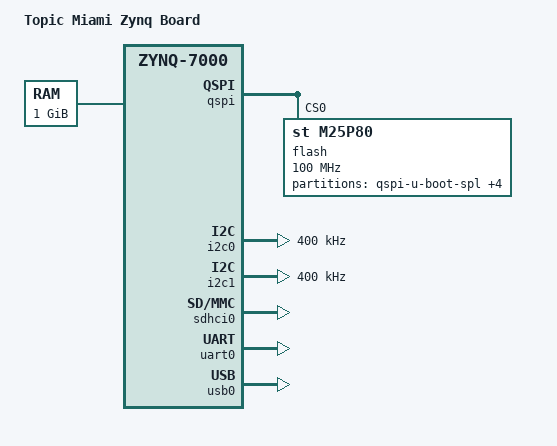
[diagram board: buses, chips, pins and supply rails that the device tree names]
// SPDX-License-Identifier: GPL-2.0+
/*
 * Topic Miami board DTS
 *
 * Copyright (C) 2014-2016 Topic Embedded Products
 */
/dts-v1/;
#include "zynq-7000.dtsi"

/ {
	model = "Topic Miami Zynq Board";
	compatible = "topic,miami", "xlnx,zynq-7000";

	aliases {
		serial0 = &uart0;
		spi0 = &qspi;
		i2c0 = &i2c0;
		i2c1 = &i2c1;
		mmc0 = &sdhci0;
		usbotg0 = &usb0;
	};

	memory@0 {
		device_type = "memory";
		reg = <0x0 0x40000000>;
	};

	chosen {
		stdout-path = "serial0:115200n8";
	};
};

&qspi {
	u-boot,dm-pre-reloc;
	status = "okay";
	is-dual = <0>;
	num-cs = <1>;
	flash@0 {
		compatible = "st,m25p80", "n25q256a";
		m25p,fast-read;
		reg = <0x0>;
		spi-tx-bus-width = <1>;
		spi-rx-bus-width = <4>;
		spi-max-frequency = <100000000>;
		#address-cells = <1>;
		#size-cells = <1>;
		partition@qspi-u-boot-spl {
			label = "qspi-u-boot-spl";
			reg = <0x00000 0x10000>;
		};
		partition@qspi-u-boot-img {
			label = "qspi-u-boot-img";
			reg = <0x10000 0x60000>;
		};
		partition@qspi-device-tree {
			label = "qspi-device-tree";
			reg = <0x70000 0x10000>;
		};
		partition@qspi-linux {
			label = "qspi-linux";
			reg = <0x80000 0x400000>;
		};
		partition@qspi-rootfs {
			label = "qspi-rootfs";
			reg = <0x480000 0x1b80000>;
		};
	};
};

&i2c0 {
	status = "okay";
	clock-frequency = <400000>;
};

&i2c1 {
	status = "okay";
	clock-frequency = <400000>;
};

&clkc {
	ps-clk-frequency = <33333333>;
};

&sdhci0 {
	u-boot,dm-pre-reloc;
	status = "okay";
};

&uart0 {
	u-boot,dm-pre-reloc;
	status = "okay";
};

&usb0 {
	status = "okay";
};
